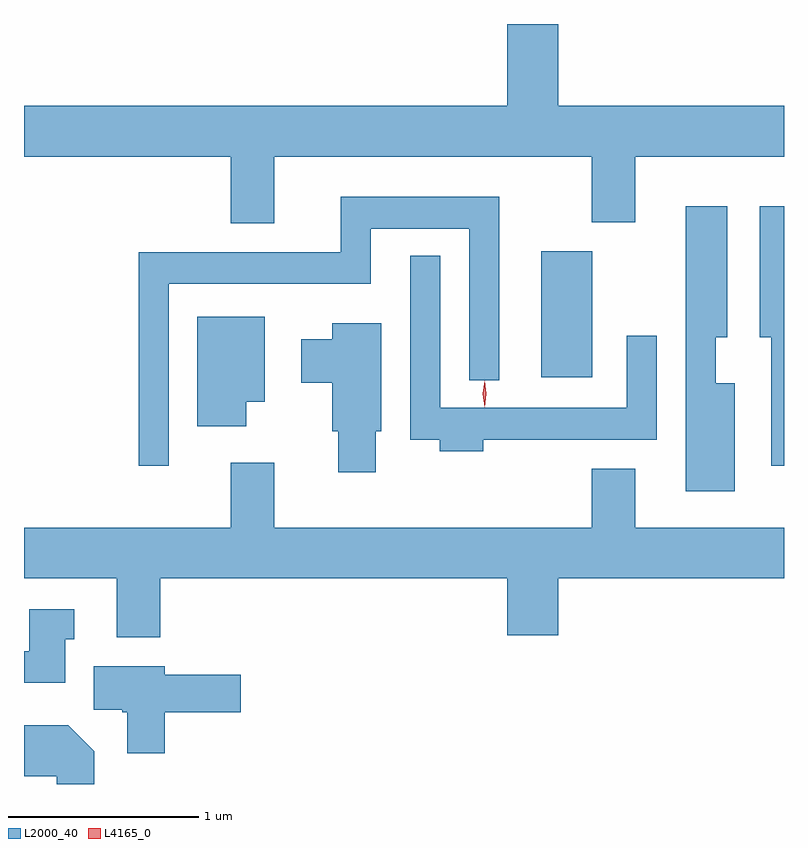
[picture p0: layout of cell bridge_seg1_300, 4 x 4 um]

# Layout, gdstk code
import gdstk
lib = gdstk.Library(unit=1e-6, precision=1e-09)
def R(c, l, rs):  # rectangles x0, y0, x1, y1
    for r in rs: c.add(gdstk.rectangle(r[:2], r[2:], *l))
def P(c, l, *ps):  # polygons
    for p in ps: c.add(gdstk.Polygon(p, *l))
L2000_40 = (2000, 40)
L4165_0 = (4165, 0)

bridge_seg1_300 = lib.new_cell('bridge_seg1_300')
R(bridge_seg1_300, L2000_40, [(874.596,873.996,874.864,874.659)])
P(bridge_seg1_300, L2000_40, [(873.189,875.156),(874.861,875.156),(874.861,874.811),(875.089,874.811),(875.089,875.156),(875.873,875.156),(875.873,875.424),(874.684,875.424),(874.684,875.854),(874.416,875.854),(874.416,875.424),(871.873,875.424),(871.873,875.156),(872.961,875.156),(872.961,874.806),(873.189,874.806)],
  [(872.634,874.486),(873.699,874.486),(873.699,874.776),(874.216,874.776),(874.216,873.978),(874.374,873.978),(874.374,874.944),(873.541,874.944),(873.541,874.654),(872.476,874.654),(872.476,873.528),(872.634,873.528)],
  [(875.873,874.894),(875.746,874.894),(875.746,874.206),(875.806,874.206),(875.806,873.528),(875.873,873.528)],
  [(875.614,873.964),(875.514,873.964),(875.514,874.206),(875.574,874.206),(875.574,874.894),(875.356,874.894),(875.356,873.396),(875.614,873.396)],
  [(874.289,873.666),(875.204,873.666),(875.204,874.213),(875.046,874.213),(875.046,873.834),(874.064,873.834),(874.064,874.633),(873.906,874.633),(873.906,873.666),(874.061,873.666),(874.061,873.606),(874.289,873.606)],
  [(873.044,873.866),(873.139,873.866),(873.139,874.314),(872.786,874.314),(872.786,873.736),(873.044,873.736)],
  [(873.724,873.711),(873.754,873.711),(873.754,874.279),(873.496,874.279),(873.496,874.194),(873.331,874.194),(873.331,873.966),(873.496,873.966),(873.496,873.711),(873.526,873.711),(873.526,873.496),(873.724,873.496)],
  [(872.589,872.936),(874.416,872.936),(874.416,872.636),(874.684,872.636),(874.684,872.936),(875.873,872.936),(875.873,873.204),(875.089,873.204),(875.089,873.514),(874.861,873.514),(874.861,873.204),(873.189,873.204),(873.189,873.544),(872.961,873.544),(872.961,873.204),(871.873,873.204),(871.873,872.936),(872.361,872.936),(872.361,872.626),(872.589,872.626)],
  [(872.089,872.616),(872.138,872.616),(872.138,872.774),(871.901,872.774),(871.901,872.554),(871.873,872.554),(871.873,872.386),(872.089,872.386)],
  [(872.614,872.231),(873.014,872.231),(873.014,872.429),(872.614,872.429),(872.614,872.474),(872.241,872.474),(872.241,872.246),(872.39,872.246),(872.39,872.231),(872.416,872.231),(872.416,872.016),(872.614,872.016)],
  [(872.244,872.027),(872.107,872.164),(871.873,872.164),(871.873,871.896),(872.046,871.896),(872.046,871.854),(872.244,871.854)])
P(bridge_seg1_300, L4165_0, [(874.297,873.837),(874.297,873.837),(874.287,873.907),(874.297,873.976),(874.297,873.976),(874.298,873.976),(874.307,873.907),(874.298,873.837)])

lib.write_gds('bridge_seg1_300.gds')
